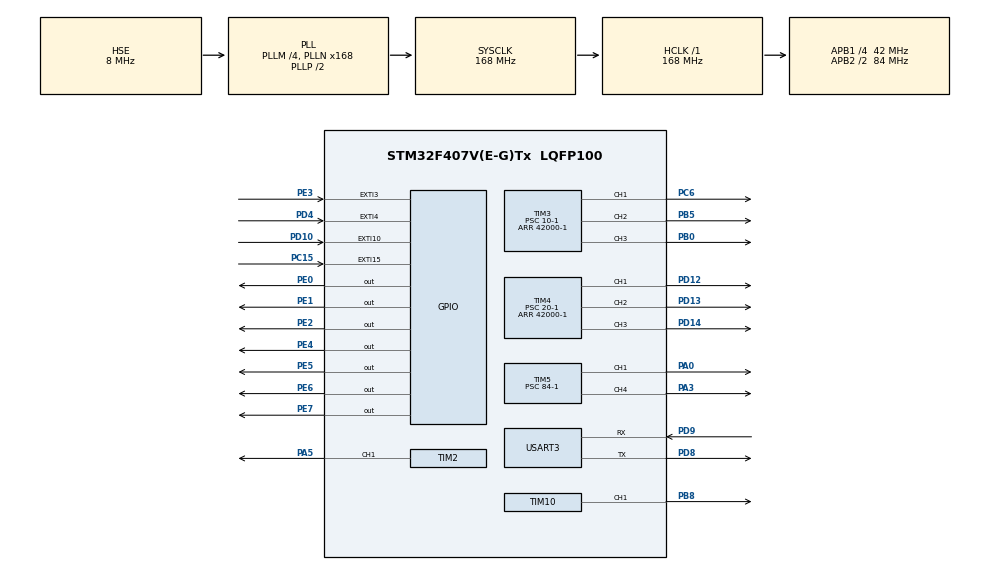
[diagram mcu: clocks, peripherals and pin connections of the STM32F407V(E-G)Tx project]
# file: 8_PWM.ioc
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Mcu.Family=STM32F4
Mcu.Name=STM32F407V(E-G)Tx
Mcu.Package=LQFP100
NVIC.EXTI15_10_IRQn=true\:0\:0\:false\:true\:true\:5\:true\:true\:true
NVIC.EXTI3_IRQn=true\:0\:0\:false\:true\:true\:3\:true\:true\:true
NVIC.EXTI4_IRQn=true\:0\:0\:false\:true\:true\:4\:true\:true\:true
NVIC.PriorityGroup=NVIC_PRIORITYGROUP_4
NVIC.TIM7_IRQn=true\:0\:0\:false\:true\:true\:2\:true\:true\:true
NVIC.USART3_IRQn=true\:0\:0\:false\:true\:true\:1\:true\:true\:true
PA0-WKUP.Signal=S_TIM5_CH1
PA3.Signal=S_TIM5_CH4
PA5.Signal=S_TIM2_CH1_ETR
PB0.Signal=S_TIM3_CH3
PB5.Signal=S_TIM3_CH2
PB8.Signal=S_TIM10_CH1
PC15-OSC32_OUT.Signal=GPXTI15
PC6.Signal=S_TIM3_CH1
PD10.Signal=GPXTI10
PD12.Signal=S_TIM4_CH1
PD13.Signal=S_TIM4_CH2
PD14.Signal=S_TIM4_CH3
PD4.Signal=GPXTI4
PD8.Mode=Asynchronous
PD8.Signal=USART3_TX
PD9.Mode=Asynchronous
PD9.Signal=USART3_RX
PE0.Signal=GPIO_Output
PE1.Signal=GPIO_Output
PE2.Signal=GPIO_Output
PE3.Signal=GPXTI3
PE4.Signal=GPIO_Output
PE5.Signal=GPIO_Output
PE6.Signal=GPIO_Output
PE7.Signal=GPIO_Output
PH0-OSC_IN.Mode=HSE-External-Oscillator
PH0-OSC_IN.Signal=RCC_OSC_IN
PH1-OSC_OUT.Mode=HSE-External-Oscillator
PH1-OSC_OUT.Signal=RCC_OSC_OUT
ProjectManager.HeapSize=0x200
ProjectManager.StackSize=0x400
ProjectManager.TargetToolchain=STM32CubeIDE
RCC.48MHZClocksFreq_Value=84000000
RCC.AHBFreq_Value=168000000
RCC.APB1CLKDivider=RCC_HCLK_DIV4
RCC.APB1Freq_Value=42000000
RCC.APB1TimFreq_Value=84000000
RCC.APB2CLKDivider=RCC_HCLK_DIV2
RCC.APB2Freq_Value=84000000
RCC.APB2TimFreq_Value=168000000
RCC.CortexFreq_Value=168000000
RCC.HCLKFreq_Value=168000000
RCC.HSE_VALUE=8000000
RCC.HSI_VALUE=16000000
RCC.LSE_VALUE=32768
RCC.PLLM=4
RCC.PLLN=168
RCC.PLLSourceVirtual=RCC_PLLSOURCE_HSE
RCC.SYSCLKFreq_VALUE=168000000
RCC.SYSCLKSource=RCC_SYSCLKSOURCE_PLLCLK
RCC.VCOOutputFreq_Value=336000000
SH.S_TIM10_CH1.0=TIM10_CH1,PWM Generation1 CH1
SH.S_TIM2_CH1_ETR.0=TIM2_CH1,PWM Generation1 CH1
SH.S_TIM3_CH1.0=TIM3_CH1,PWM Generation1 CH1
SH.S_TIM3_CH2.0=TIM3_CH2,PWM Generation2 CH2
SH.S_TIM3_CH3.0=TIM3_CH3,PWM Generation3 CH3
SH.S_TIM4_CH1.0=TIM4_CH1,PWM Generation1 CH1
SH.S_TIM4_CH2.0=TIM4_CH2,PWM Generation2 CH2
SH.S_TIM4_CH3.0=TIM4_CH3,PWM Generation3 CH3
SH.S_TIM5_CH1.0=TIM5_CH1,PWM Generation1 CH1
SH.S_TIM5_CH4.0=TIM5_CH4,PWM Generation4 CH4
TIM10.Channel=TIM_CHANNEL_1
TIM10.Period=10000-1
TIM10.Prescaler=336-1
TIM10.Pulse=100
TIM2.Channel-PWM\ Generation1\ CH1=TIM_CHANNEL_1
TIM2.Period=168-1
TIM2.Prescaler=1000-1
TIM2.Pulse-PWM\ Generation1\ CH1=84
TIM3.Channel-PWM\ Generation1\ CH1=TIM_CHANNEL_1
TIM3.Channel-PWM\ Generation2\ CH2=TIM_CHANNEL_2
TIM3.Channel-PWM\ Generation3\ CH3=TIM_CHANNEL_3
TIM3.Period=42000-1
TIM3.Prescaler=10-1
TIM3.Pulse-PWM\ Generation1\ CH1=21000-1
TIM3.Pulse-PWM\ Generation2\ CH2=10500-1
TIM3.Pulse-PWM\ Generation3\ CH3=5250-1
TIM4.Channel-PWM\ Generation1\ CH1=TIM_CHANNEL_1
TIM4.Channel-PWM\ Generation2\ CH2=TIM_CHANNEL_2
TIM4.Channel-PWM\ Generation3\ CH3=TIM_CHANNEL_3
TIM4.Period=42000-1
TIM4.Prescaler=20-1
TIM4.Pulse-PWM\ Generation1\ CH1=21000-1
TIM4.Pulse-PWM\ Generation2\ CH2=10500-1
TIM4.Pulse-PWM\ Generation3\ CH3=5250-1
TIM5.Channel-PWM\ Generation1\ CH1=TIM_CHANNEL_1
TIM5.Channel-PWM\ Generation4\ CH4=TIM_CHANNEL_4
TIM5.Period=10000-1
TIM5.Prescaler=84-1
TIM5.Pulse-PWM\ Generation4\ CH4=5000
TIM7.Period=8400-1
TIM7.Prescaler=10000-1
USART3.VirtualMode=VM_ASYNC
VP_TIM10_VS_ClockSourceINT.Mode=Enable_Timer
VP_TIM2_VS_ClockSourceINT.Mode=Internal
VP_TIM3_VS_ClockSourceINT.Mode=Internal
VP_TIM4_VS_ClockSourceINT.Mode=Internal
VP_TIM5_VS_ClockSourceINT.Mode=Internal
VP_TIM7_VS_ClockSourceINT.Mode=Enable_Timer
board=custom

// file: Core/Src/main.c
/* USER CODE BEGIN Header */
/**
 ******************************************************************************
 * @file           : main.c
 * @brief          : Main program body
 ******************************************************************************
 * @attention
 *
 * Copyright (c) 2024 STMicroelectronics.
 * All rights reserved.
 *
 * This software is licensed under terms that can be found in the LICENSE file
 * in the root directory of this software component.
 * If no LICENSE file comes with this software, it is provided AS-IS.
 *
 ******************************************************************************
 */
/* USER CODE END Header */
#include "main.h"

/* USER CODE BEGIN Includes */
#include <stdio.h>
#include <string.h>
#include "CLCD.h"
#include "7SEG.h"
/* USER CODE END Includes */

TIM_HandleTypeDef htim2;
TIM_HandleTypeDef htim3;
TIM_HandleTypeDef htim4;
TIM_HandleTypeDef htim5;
TIM_HandleTypeDef htim7;
TIM_HandleTypeDef htim10;

UART_HandleTypeDef huart3;

/* USER CODE BEGIN PV */
uint8_t rx3_data;
uint8_t buf = 0;
uint8_t rx3_buf[100] = "uart test";
/* USER CODE END PV */

void SystemClock_Config(void);
static void MX_GPIO_Init(void);
static void MX_USART3_UART_Init(void);
static void MX_TIM7_Init(void);
static void MX_TIM3_Init(void);
static void MX_TIM4_Init(void);
static void MX_TIM10_Init(void);
static void MX_TIM2_Init(void);
static void MX_TIM5_Init(void);
static void MX_NVIC_Init(void);
/* USER CODE BEGIN PFP */
int _write(int file, char *p, int len) {
	HAL_UART_Transmit(&huart3, p, len, 10);
	return len;
}

void HAL_UART_RxCpltCallback(UART_HandleTypeDef *huart) {
	if (huart->Instance == USART3) {
		if (buf < 100 - 1) {
			buf++;
		} else {
			buf = 0;
		}

		if (rx3_buf[buf - 1] == '\n') {
			rx3_buf[buf - 1] = '\0';
			buf = 0;
		}

		HAL_UART_Receive_IT(&huart3, &rx3_buf[buf], 1);
	}
}

void HAL_TIM_PeriodElapsedCallback(TIM_HandleTypeDef *htim) {
	static unsigned char cnt = 0;

	if (htim->Instance == TIM7) {
//		HAL_GPIO_TogglePin(GPIOD, GPIO_PIN_12);
//		_7SEG_SetNumber(DGT1, cnt/10, OFF);
//		_7SEG_SetNumber(DGT2, cnt%10, ON);
//		cnt++;
	}
}

void HAL_GPIO_EXTI_Callback(uint16_t GPIO_Pin) {
//	if (GPIO_Pin == GPIO_PIN_3) {
//		HAL_GPIO_TogglePin(GPIOD, GPIO_PIN_12);
//	}
//	if (GPIO_Pin == GPIO_PIN_15) {
//		HAL_GPIO_TogglePin(GPIOD, GPIO_PIN_13);
//	}
//	if (GPIO_Pin == GPIO_PIN_4) {
//		HAL_GPIO_TogglePin(GPIOD, GPIO_PIN_14);
//	}
//	if (GPIO_Pin == GPIO_PIN_10) {
//		HAL_GPIO_TogglePin(GPIOB, GPIO_PIN_0);
//	}
}
/* USER CODE END PFP */

int main(void) {

	/* MCU Configuration--------------------------------------------------------*/

	/* Reset of all peripherals, Initializes the Flash interface and the Systick. */
	HAL_Init();

	/* Configure the system clock */
	SystemClock_Config();

	/* Initialize all configured peripherals */
	MX_GPIO_Init();
	MX_USART3_UART_Init();
	MX_TIM7_Init();
	MX_TIM3_Init();
	MX_TIM4_Init();
	MX_TIM10_Init();
	MX_TIM2_Init();
	MX_TIM5_Init();

	/* Initialize interrupts */
	MX_NVIC_Init();
	/* USER CODE BEGIN 2 */
	HAL_GPIO_WritePin(GPIOD, GPIO_PIN_12, GPIO_PIN_SET);
	HAL_GPIO_WritePin(GPIOD, GPIO_PIN_13, GPIO_PIN_SET);
	HAL_GPIO_WritePin(GPIOD, GPIO_PIN_14, GPIO_PIN_SET);
	HAL_GPIO_WritePin(GPIOC, GPIO_PIN_6, GPIO_PIN_SET);
	HAL_GPIO_WritePin(GPIOB, GPIO_PIN_0, GPIO_PIN_SET);
	HAL_GPIO_WritePin(GPIOB, GPIO_PIN_5, GPIO_PIN_SET);

//	HAL_UART_Receive_IT(&huart3, &rx3_buf[buf], 1);
	HAL_TIM_Base_Start_IT(&htim7);

//	HAL_TIM_PWM_Start(&htim3, TIM_CHANNEL_1);
//	HAL_TIM_PWM_Start(&htim3, TIM_CHANNEL_2);
//	HAL_TIM_PWM_Start(&htim3, TIM_CHANNEL_3);
//	HAL_TIM_PWM_Start(&htim4, TIM_CHANNEL_1);
//	HAL_TIM_PWM_Start(&htim4, TIM_CHANNEL_2);
//	HAL_TIM_PWM_Start(&htim4, TIM_CHANNEL_3);

	/*Servo motor*/
//	HAL_TIM_PWM_Start(&htim10, TIM_CHANNEL_1);
//	TIM10->CCR1 = 1500;
	/*Buzzer*/
//	HAL_TIM_PWM_Start(&htim2, TIM_CHANNEL_1);
//	TIM2->ARR = 500 - 1;
//	TIM2->CCR1 = 250;
	/*DC motor 100Hz Positive*/
//	HAL_TIM_PWM_Start(&htim5, TIM_CHANNEL_4); // motor driver input A, 50% pwm
//	HAL_TIM_PWM_Start(&htim5, TIM_CHANNEL_1); // motor driver input B, 0% pwm
	/*DC motor 100Hz Negative*/
//	TIM5->CCR4 = 0;
//	TIM5->CCR1 = 5000;
	CLCD_GPIO_Init();
	CLCD_Init();

	CLCD_Puts(0, 0, "Welcome to");
	CLCD_Puts(0, 1, "Kkang Home");

//	CLCD_Clear();

//	_7SEG_GPIO_Init();
	/* USER CODE END 2 */

	/* Infinite loop */
	/* USER CODE BEGIN WHILE */
	uint8_t a = 0;
	uint8_t str[20];
	uint16_t ccr = 0;
	uint16_t arr = 1000;
	uint16_t psc = 1000;
	uint8_t ud_flag = 0;

	while (1) {
//		__HAL_TIM_SET_COMPARE(&htim4, TIM_CHANNEL_1, ccr);  // mecro
//		TIM4->CCR1 = ccr; //
//		ccr += 1000;
//
//		if(ccr > TIM4->ARR){
//			ccr = 0;
//		}
//
//		HAL_Delay(50);

		/*use ARR ===> !!!Error!!!(Output stops during operation)
		 * Default : prescaler = 168-1, ARR = 1000-1*/
//		if (ud_flag == 0) {
//			arr++;
//			if (arr >= 2500)
//				ud_flag = 1;
//		} else {
//			arr--;
//			if (arr <= 1000)
//				ud_flag = 0;
//		}
//
//		TIM2->ARR = arr;
//		TIM2->CCR1 = TIM2->ARR / 2;
//
//		HAL_Delay(1);
		/*use PSC
		 * Default : prescaler = 1000-1, ARR = 168-1*/
		if (ud_flag == 0) {
			psc++;
			if (psc >= 2500)
				ud_flag = 1;
		} else {
			psc--;
			if (psc <= 1000)
				ud_flag = 0;
		}

		TIM2->PSC = psc;

		HAL_Delay(1);

		/* USER CODE END WHILE */

	}
}

void SystemClock_Config(void) {
	RCC_OscInitTypeDef RCC_OscInitStruct = { 0 };
	RCC_ClkInitTypeDef RCC_ClkInitStruct = { 0 };

	/** Configure the main internal regulator output voltage
	 */
	__HAL_RCC_PWR_CLK_ENABLE();
	__HAL_PWR_VOLTAGESCALING_CONFIG(PWR_REGULATOR_VOLTAGE_SCALE1);

	/** Initializes the RCC Oscillators according to the specified parameters
	 * in the RCC_OscInitTypeDef structure.
	 */
	RCC_OscInitStruct.OscillatorType = RCC_OSCILLATORTYPE_HSE;
	RCC_OscInitStruct.HSEState = RCC_HSE_ON;
	RCC_OscInitStruct.PLL.PLLState = RCC_PLL_ON;
	RCC_OscInitStruct.PLL.PLLSource = RCC_PLLSOURCE_HSE;
	RCC_OscInitStruct.PLL.PLLM = 4;
	RCC_OscInitStruct.PLL.PLLN = 168;
	RCC_OscInitStruct.PLL.PLLP = RCC_PLLP_DIV2;
	RCC_OscInitStruct.PLL.PLLQ = 4;
	if (HAL_RCC_OscConfig(&RCC_OscInitStruct) != HAL_OK) {
		Error_Handler();
	}

	/** Initializes the CPU, AHB and APB buses clocks
	 */
	RCC_ClkInitStruct.ClockType = RCC_CLOCKTYPE_HCLK | RCC_CLOCKTYPE_SYSCLK
			| RCC_CLOCKTYPE_PCLK1 | RCC_CLOCKTYPE_PCLK2;
	RCC_ClkInitStruct.SYSCLKSource = RCC_SYSCLKSOURCE_PLLCLK;
	RCC_ClkInitStruct.AHBCLKDivider = RCC_SYSCLK_DIV1;
	RCC_ClkInitStruct.APB1CLKDivider = RCC_HCLK_DIV4;
	RCC_ClkInitStruct.APB2CLKDivider = RCC_HCLK_DIV2;

	if (HAL_RCC_ClockConfig(&RCC_ClkInitStruct, FLASH_LATENCY_5) != HAL_OK) {
		Error_Handler();
	}
}

/**
 * @brief NVIC Configuration.
 * @retval None
 */
static void MX_NVIC_Init(void) {
	/* USART3_IRQn interrupt configuration */
	HAL_NVIC_SetPriority(USART3_IRQn, 0, 0);
	HAL_NVIC_EnableIRQ(USART3_IRQn);
	/* TIM7_IRQn interrupt configuration */
	HAL_NVIC_SetPriority(TIM7_IRQn, 0, 0);
	HAL_NVIC_EnableIRQ(TIM7_IRQn);
	/* EXTI3_IRQn interrupt configuration */
	HAL_NVIC_SetPriority(EXTI3_IRQn, 0, 0);
	HAL_NVIC_EnableIRQ(EXTI3_IRQn);
	/* EXTI4_IRQn interrupt configuration */
	HAL_NVIC_SetPriority(EXTI4_IRQn, 0, 0);
	HAL_NVIC_EnableIRQ(EXTI4_IRQn);
	/* EXTI15_10_IRQn interrupt configuration */
	HAL_NVIC_SetPriority(EXTI15_10_IRQn, 0, 0);
	HAL_NVIC_EnableIRQ(EXTI15_10_IRQn);
}

static void MX_TIM2_Init(void) {

	TIM_ClockConfigTypeDef sClockSourceConfig = { 0 };
	TIM_MasterConfigTypeDef sMasterConfig = { 0 };
	TIM_OC_InitTypeDef sConfigOC = { 0 };

	htim2.Instance = TIM2;
	htim2.Init.Prescaler = 1000 - 1;
	htim2.Init.CounterMode = TIM_COUNTERMODE_UP;
	htim2.Init.Period = 168 - 1;
	htim2.Init.ClockDivision = TIM_CLOCKDIVISION_DIV1;
	htim2.Init.AutoReloadPreload = TIM_AUTORELOAD_PRELOAD_DISABLE;
	if (HAL_TIM_Base_Init(&htim2) != HAL_OK) {
		Error_Handler();
	}
	sClockSourceConfig.ClockSource = TIM_CLOCKSOURCE_INTERNAL;
	if (HAL_TIM_ConfigClockSource(&htim2, &sClockSourceConfig) != HAL_OK) {
		Error_Handler();
	}
	if (HAL_TIM_PWM_Init(&htim2) != HAL_OK) {
		Error_Handler();
	}
	sMasterConfig.MasterOutputTrigger = TIM_TRGO_RESET;
	sMasterConfig.MasterSlaveMode = TIM_MASTERSLAVEMODE_DISABLE;
	if (HAL_TIMEx_MasterConfigSynchronization(&htim2, &sMasterConfig)
			!= HAL_OK) {
		Error_Handler();
	}
	sConfigOC.OCMode = TIM_OCMODE_PWM1;
	sConfigOC.Pulse = 84;
	sConfigOC.OCPolarity = TIM_OCPOLARITY_HIGH;
	sConfigOC.OCFastMode = TIM_OCFAST_DISABLE;
	if (HAL_TIM_PWM_ConfigChannel(&htim2, &sConfigOC, TIM_CHANNEL_1)
			!= HAL_OK) {
		Error_Handler();
	}
	HAL_TIM_MspPostInit(&htim2);

}

static void MX_TIM3_Init(void) {

	TIM_ClockConfigTypeDef sClockSourceConfig = { 0 };
	TIM_MasterConfigTypeDef sMasterConfig = { 0 };
	TIM_OC_InitTypeDef sConfigOC = { 0 };

	htim3.Instance = TIM3;
	htim3.Init.Prescaler = 10 - 1;
	htim3.Init.CounterMode = TIM_COUNTERMODE_UP;
	htim3.Init.Period = 42000 - 1;
	htim3.Init.ClockDivision = TIM_CLOCKDIVISION_DIV1;
	htim3.Init.AutoReloadPreload = TIM_AUTORELOAD_PRELOAD_DISABLE;
	if (HAL_TIM_Base_Init(&htim3) != HAL_OK) {
		Error_Handler();
	}
	sClockSourceConfig.ClockSource = TIM_CLOCKSOURCE_INTERNAL;
	if (HAL_TIM_ConfigClockSource(&htim3, &sClockSourceConfig) != HAL_OK) {
		Error_Handler();
	}
	if (HAL_TIM_PWM_Init(&htim3) != HAL_OK) {
		Error_Handler();
	}
	sMasterConfig.MasterOutputTrigger = TIM_TRGO_RESET;
	sMasterConfig.MasterSlaveMode = TIM_MASTERSLAVEMODE_DISABLE;
	if (HAL_TIMEx_MasterConfigSynchronization(&htim3, &sMasterConfig)
			!= HAL_OK) {
		Error_Handler();
	}
	sConfigOC.OCMode = TIM_OCMODE_PWM1;
	sConfigOC.Pulse = 21000 - 1;
	sConfigOC.OCPolarity = TIM_OCPOLARITY_HIGH;
	sConfigOC.OCFastMode = TIM_OCFAST_DISABLE;
	if (HAL_TIM_PWM_ConfigChannel(&htim3, &sConfigOC, TIM_CHANNEL_1)
			!= HAL_OK) {
		Error_Handler();
	}
	sConfigOC.Pulse = 10500 - 1;
	if (HAL_TIM_PWM_ConfigChannel(&htim3, &sConfigOC, TIM_CHANNEL_2)
			!= HAL_OK) {
		Error_Handler();
	}
	sConfigOC.Pulse = 5250 - 1;
	if (HAL_TIM_PWM_ConfigChannel(&htim3, &sConfigOC, TIM_CHANNEL_3)
			!= HAL_OK) {
		Error_Handler();
	}
	HAL_TIM_MspPostInit(&htim3);

}

static void MX_TIM4_Init(void) {

	TIM_ClockConfigTypeDef sClockSourceConfig = { 0 };
	TIM_MasterConfigTypeDef sMasterConfig = { 0 };
	TIM_OC_InitTypeDef sConfigOC = { 0 };

	htim4.Instance = TIM4;
	htim4.Init.Prescaler = 20 - 1;
	htim4.Init.CounterMode = TIM_COUNTERMODE_UP;
	htim4.Init.Period = 42000 - 1;
	htim4.Init.ClockDivision = TIM_CLOCKDIVISION_DIV1;
	htim4.Init.AutoReloadPreload = TIM_AUTORELOAD_PRELOAD_DISABLE;
	if (HAL_TIM_Base_Init(&htim4) != HAL_OK) {
		Error_Handler();
	}
	sClockSourceConfig.ClockSource = TIM_CLOCKSOURCE_INTERNAL;
	if (HAL_TIM_ConfigClockSource(&htim4, &sClockSourceConfig) != HAL_OK) {
		Error_Handler();
	}
	if (HAL_TIM_PWM_Init(&htim4) != HAL_OK) {
		Error_Handler();
	}
	sMasterConfig.MasterOutputTrigger = TIM_TRGO_RESET;
	sMasterConfig.MasterSlaveMode = TIM_MASTERSLAVEMODE_DISABLE;
	if (HAL_TIMEx_MasterConfigSynchronization(&htim4, &sMasterConfig)
			!= HAL_OK) {
		Error_Handler();
	}
	sConfigOC.OCMode = TIM_OCMODE_PWM1;
	sConfigOC.Pulse = 21000 - 1;
	sConfigOC.OCPolarity = TIM_OCPOLARITY_HIGH;
	sConfigOC.OCFastMode = TIM_OCFAST_DISABLE;
	if (HAL_TIM_PWM_ConfigChannel(&htim4, &sConfigOC, TIM_CHANNEL_1)
			!= HAL_OK) {
		Error_Handler();
	}
	sConfigOC.Pulse = 10500 - 1;
	if (HAL_TIM_PWM_ConfigChannel(&htim4, &sConfigOC, TIM_CHANNEL_2)
			!= HAL_OK) {
		Error_Handler();
	}
	sConfigOC.Pulse = 5250 - 1;
	if (HAL_TIM_PWM_ConfigChannel(&htim4, &sConfigOC, TIM_CHANNEL_3)
			!= HAL_OK) {
		Error_Handler();
	}
	HAL_TIM_MspPostInit(&htim4);

}

static void MX_TIM5_Init(void) {

	TIM_ClockConfigTypeDef sClockSourceConfig = { 0 };
	TIM_MasterConfigTypeDef sMasterConfig = { 0 };
	TIM_OC_InitTypeDef sConfigOC = { 0 };

	htim5.Instance = TIM5;
	htim5.Init.Prescaler = 84 - 1;
	htim5.Init.CounterMode = TIM_COUNTERMODE_UP;
	htim5.Init.Period = 10000 - 1;
	htim5.Init.ClockDivision = TIM_CLOCKDIVISION_DIV1;
	htim5.Init.AutoReloadPreload = TIM_AUTORELOAD_PRELOAD_DISABLE;
	if (HAL_TIM_Base_Init(&htim5) != HAL_OK) {
		Error_Handler();
	}
	sClockSourceConfig.ClockSource = TIM_CLOCKSOURCE_INTERNAL;
	if (HAL_TIM_ConfigClockSource(&htim5, &sClockSourceConfig) != HAL_OK) {
		Error_Handler();
	}
	if (HAL_TIM_PWM_Init(&htim5) != HAL_OK) {
		Error_Handler();
	}
	sMasterConfig.MasterOutputTrigger = TIM_TRGO_RESET;
	sMasterConfig.MasterSlaveMode = TIM_MASTERSLAVEMODE_DISABLE;
	if (HAL_TIMEx_MasterConfigSynchronization(&htim5, &sMasterConfig)
			!= HAL_OK) {
		Error_Handler();
	}
	sConfigOC.OCMode = TIM_OCMODE_PWM1;
	sConfigOC.Pulse = 0;
	sConfigOC.OCPolarity = TIM_OCPOLARITY_HIGH;
	sConfigOC.OCFastMode = TIM_OCFAST_DISABLE;
	if (HAL_TIM_PWM_ConfigChannel(&htim5, &sConfigOC, TIM_CHANNEL_1)
			!= HAL_OK) {
		Error_Handler();
	}
	sConfigOC.Pulse = 5000;
	if (HAL_TIM_PWM_ConfigChannel(&htim5, &sConfigOC, TIM_CHANNEL_4)
			!= HAL_OK) {
		Error_Handler();
	}
	HAL_TIM_MspPostInit(&htim5);

}

static void MX_TIM7_Init(void) {

	TIM_MasterConfigTypeDef sMasterConfig = { 0 };

	htim7.Instance = TIM7;
	htim7.Init.Prescaler = 10000 - 1;
	htim7.Init.CounterMode = TIM_COUNTERMODE_UP;
	htim7.Init.Period = 8400 - 1;
	htim7.Init.AutoReloadPreload = TIM_AUTORELOAD_PRELOAD_DISABLE;
	if (HAL_TIM_Base_Init(&htim7) != HAL_OK) {
		Error_Handler();
	}
	sMasterConfig.MasterOutputTrigger = TIM_TRGO_RESET;
	sMasterConfig.MasterSlaveMode = TIM_MASTERSLAVEMODE_DISABLE;
	if (HAL_TIMEx_MasterConfigSynchronization(&htim7, &sMasterConfig)
			!= HAL_OK) {
		Error_Handler();
	}

}

static void MX_TIM10_Init(void) {

	TIM_OC_InitTypeDef sConfigOC = { 0 };

	htim10.Instance = TIM10;
	htim10.Init.Prescaler = 336 - 1;
	htim10.Init.CounterMode = TIM_COUNTERMODE_UP;
	htim10.Init.Period = 10000 - 1;
	htim10.Init.ClockDivision = TIM_CLOCKDIVISION_DIV1;
	htim10.Init.AutoReloadPreload = TIM_AUTORELOAD_PRELOAD_DISABLE;
	if (HAL_TIM_Base_Init(&htim10) != HAL_OK) {
		Error_Handler();
	}
	if (HAL_TIM_PWM_Init(&htim10) != HAL_OK) {
		Error_Handler();
	}
	sConfigOC.OCMode = TIM_OCMODE_PWM1;
	sConfigOC.Pulse = 100;
	sConfigOC.OCPolarity = TIM_OCPOLARITY_HIGH;
	sConfigOC.OCFastMode = TIM_OCFAST_DISABLE;
	if (HAL_TIM_PWM_ConfigChannel(&htim10, &sConfigOC, TIM_CHANNEL_1)
			!= HAL_OK) {
		Error_Handler();
	}
	HAL_TIM_MspPostInit(&htim10);

}

static void MX_USART3_UART_Init(void) {

	huart3.Instance = USART3;
	huart3.Init.BaudRate = 115200;
	huart3.Init.WordLength = UART_WORDLENGTH_8B;
	huart3.Init.StopBits = UART_STOPBITS_1;
	huart3.Init.Parity = UART_PARITY_NONE;
	huart3.Init.Mode = UART_MODE_TX_RX;
	huart3.Init.HwFlowCtl = UART_HWCONTROL_NONE;
	huart3.Init.OverSampling = UART_OVERSAMPLING_16;
	if (HAL_UART_Init(&huart3) != HAL_OK) {
		Error_Handler();
	}

}

static void MX_GPIO_Init(void) {
	GPIO_InitTypeDef GPIO_InitStruct = { 0 };

	/* GPIO Ports Clock Enable */
	__HAL_RCC_GPIOE_CLK_ENABLE();
	__HAL_RCC_GPIOC_CLK_ENABLE();
	__HAL_RCC_GPIOH_CLK_ENABLE();
	__HAL_RCC_GPIOA_CLK_ENABLE();
	__HAL_RCC_GPIOB_CLK_ENABLE();
	__HAL_RCC_GPIOD_CLK_ENABLE();

	/*Configure GPIO pin Output Level */
	HAL_GPIO_WritePin(GPIOE,
			GPIO_PIN_2 | GPIO_PIN_4 | GPIO_PIN_5 | GPIO_PIN_6 | GPIO_PIN_7
					| GPIO_PIN_0 | GPIO_PIN_1, GPIO_PIN_RESET);

	/*Configure GPIO pins : PE2 PE4 PE5 PE6
	 PE7 PE0 PE1 */
	GPIO_InitStruct.Pin = GPIO_PIN_2 | GPIO_PIN_4 | GPIO_PIN_5 | GPIO_PIN_6
			| GPIO_PIN_7 | GPIO_PIN_0 | GPIO_PIN_1;
	GPIO_InitStruct.Mode = GPIO_MODE_OUTPUT_PP;
	GPIO_InitStruct.Pull = GPIO_NOPULL;
	GPIO_InitStruct.Speed = GPIO_SPEED_FREQ_LOW;
	HAL_GPIO_Init(GPIOE, &GPIO_InitStruct);

	/*Configure GPIO pin : PE3 */
	GPIO_InitStruct.Pin = GPIO_PIN_3;
	GPIO_InitStruct.Mode = GPIO_MODE_IT_RISING;
	GPIO_InitStruct.Pull = GPIO_NOPULL;
	HAL_GPIO_Init(GPIOE, &GPIO_InitStruct);

	/*Configure GPIO pin : PC15 */
	GPIO_InitStruct.Pin = GPIO_PIN_15;
	GPIO_InitStruct.Mode = GPIO_MODE_IT_RISING;
	GPIO_InitStruct.Pull = GPIO_NOPULL;
	HAL_GPIO_Init(GPIOC, &GPIO_InitStruct);

	/*Configure GPIO pins : PD10 PD4 */
	GPIO_InitStruct.Pin = GPIO_PIN_10 | GPIO_PIN_4;
	GPIO_InitStruct.Mode = GPIO_MODE_IT_RISING;
	GPIO_InitStruct.Pull = GPIO_NOPULL;
	HAL_GPIO_Init(GPIOD, &GPIO_InitStruct);

}

void Error_Handler(void) {
	__disable_irq();
	while (1) {
	}
}
